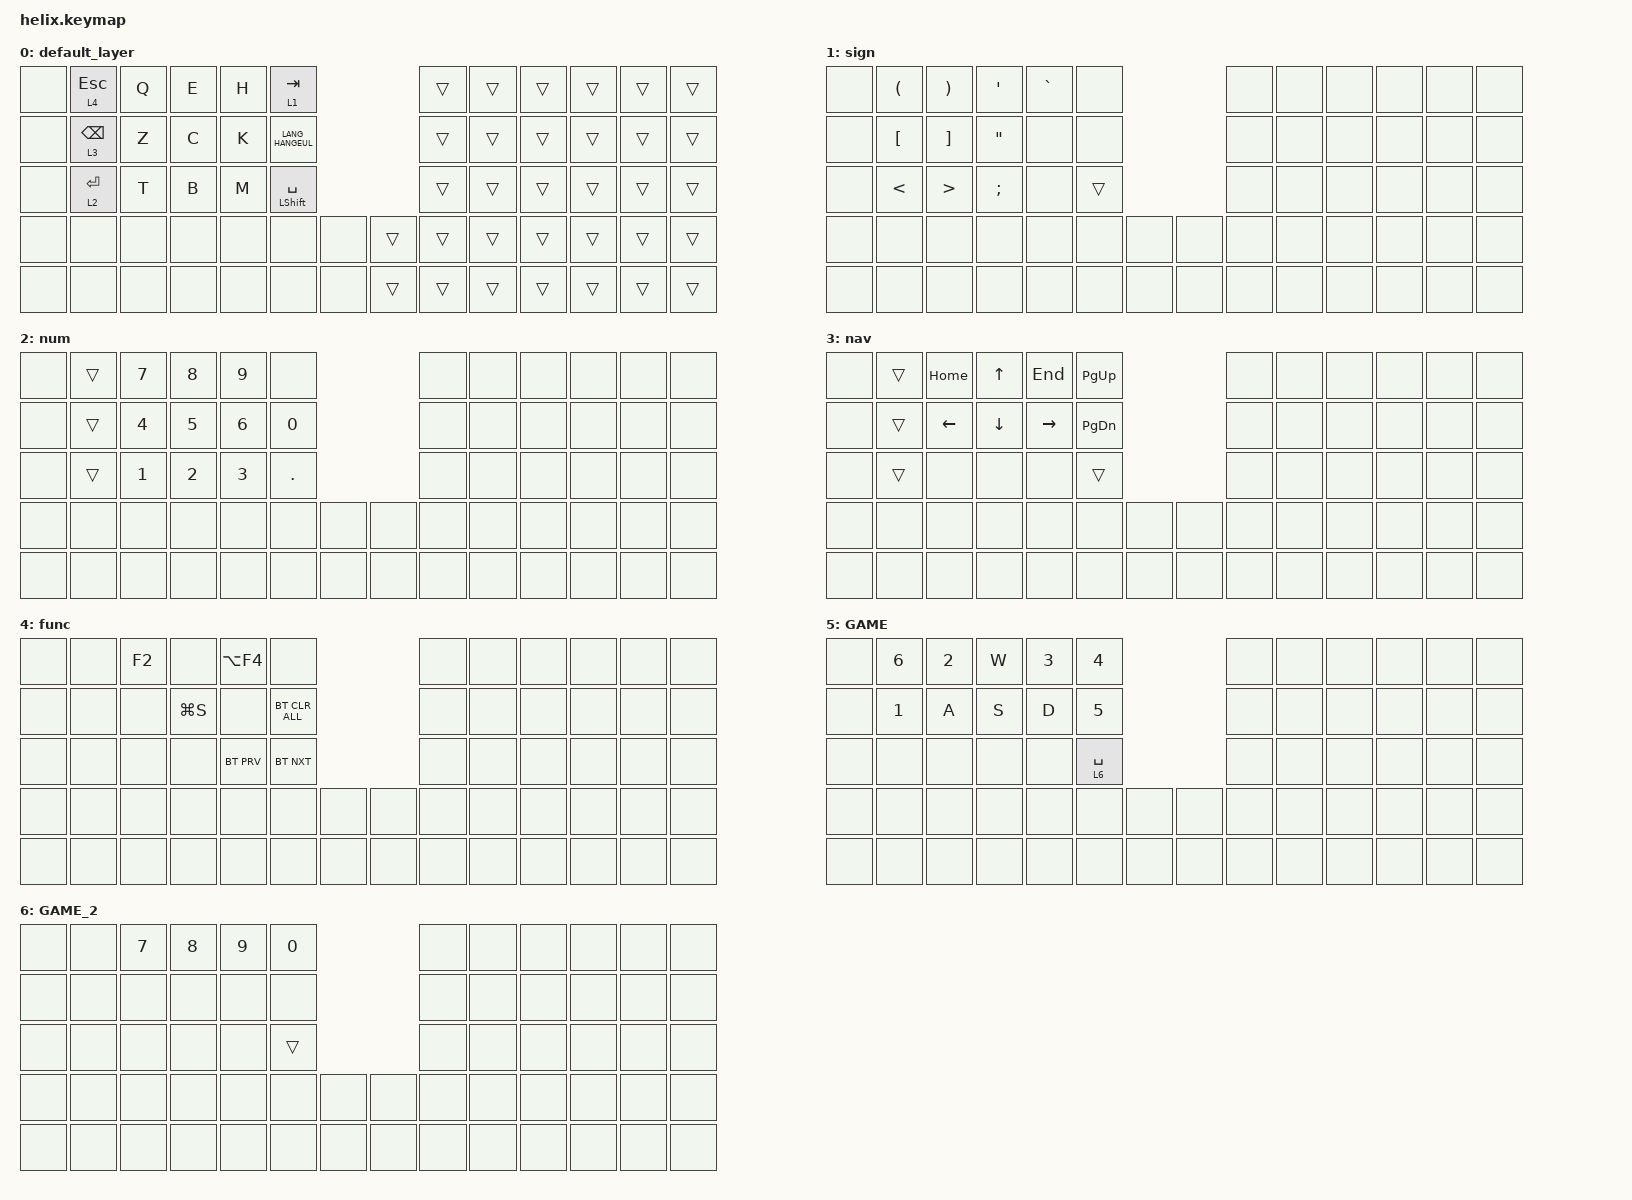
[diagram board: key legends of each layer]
/*
 * Copyright (c) 2020 The ZMK Contributors
 *
 * SPDX-License-Identifier: MIT
 */

#include <behaviors.dtsi>
#include <dt-bindings/zmk/bt.h>
#include <dt-bindings/zmk/keys.h>

#define DEFAULT 0
#define LOWER  1
#define RAISE  2
#define ADJUST 3

/* NOTE: At the time of the creation of this keymap, there are no specified codes for 'eisuu' and 'kana' input in ZMK.
However, 'LANG1' and 'LANG2' are fully-functioning candidates for 'kana' and 'eisuu' input respectively.
As such, those are in use within the default layer at this time.*/

/ {
    combos {
        compatible = "zmk,combos";

        gamemod {
            bindings = <&tog 5>;
            key-positions = <5 1>;
            layers = <0 5>;
        };

        QE_W {
            bindings = <&kp W>;
            key-positions = <2 3>;
            layers = <0>;
        };

        EH_Y {
            bindings = <&kp Y>;
            key-positions = <3 4>;
            layers = <0>;
        };

        ZE_A {
            bindings = <&kp A>;
            key-positions = <3 14>;
            layers = <0>;
        };

        ZH_S {
            bindings = <&kp S>;
            key-positions = <4 14>;
            layers = <0>;
        };

        QH_D {
            bindings = <&kp D>;
            key-positions = <4 2>;
            layers = <0>;
        };

        QK_U {
            bindings = <&kp U>;
            key-positions = <2 16>;
            layers = <0>;
        };

        EK_J {
            bindings = <&kp J>;
            key-positions = <3 16>;
            layers = <0>;
        };

        ZC_X {
            bindings = <&kp X>;
            key-positions = <14 15>;
            layers = <0>;
        };

        ZK_N {
            bindings = <&kp N>;
            key-positions = <14 16>;
            layers = <0>;
        };

        CK_I {
            bindings = <&kp I>;
            key-positions = <15 16>;
            layers = <0>;
        };

        TC_R {
            bindings = <&kp R>;
            key-positions = <15 26>;
            layers = <0>;
        };

        TK_F {
            bindings = <&kp F>;
            key-positions = <16 26>;
            layers = <0>;
        };

        TM_V {
            bindings = <&kp V>;
            key-positions = <26 28>;
            layers = <0>;
        };

        MZ_O {
            bindings = <&kp O>;
            key-positions = <14 28>;
            layers = <0>;
        };

        MC_L {
            bindings = <&kp L>;
            key-positions = <15 28>;
            layers = <0>;
        };

        TB_G {
            bindings = <&kp G>;
            key-positions = <26 27>;
            layers = <0>;
        };

        BM_P {
            bindings = <&kp P>;
            key-positions = <27 28>;
            layers = <0>;
        };

        QT_WIN {
            bindings = <&sk LEFT_WIN>;
            key-positions = <2 28>;
            layers = <0>;
        };

        EB_ALT {
            bindings = <&sk LEFT_ALT>;
            key-positions = <3 28>;
            layers = <0>;
        };

        HM_CTRL {
            bindings = <&sk LCTRL>;
            key-positions = <28 4>;
            layers = <0>;
        };

        CMB_CTRLZ {
            bindings = <&kp LC(Z)>;
            key-positions = <1 29>;
        };

        CMB_CTRLX {
            bindings = <&kp LC(X)>;
            key-positions = <2 29>;
            layers = <0>;
        };

        CMB_CTRLC {
            bindings = <&kp LC(C)>;
            key-positions = <29 3>;
            layers = <0>;
        };

        CMB_CTRLV {
            bindings = <&kp LC(V)>;
            key-positions = <4 29>;
            layers = <0>;
        };

        CMB_QZ {
            bindings = <&kp EXCLAMATION>;
            key-positions = <2 14>;
            layers = <0>;
        };

        CMB_EC {
            bindings = <&kp QUESTION>;
            key-positions = <3 15>;
            layers = <0>;
        };

        CMB_HK {
            bindings = <&kp MINUS>;
            key-positions = <4 16>;
            layers = <0>;
        };

        CMB_ZT {
            bindings = <&kp SLASH>;
            key-positions = <14 26>;
            layers = <0>;
        };

        CMB_CB {
            bindings = <&kp COMMA>;
            key-positions = <15 27>;
            layers = <0>;
        };

        CMB_KM {
            bindings = <&kp PERIOD>;
            key-positions = <16 28>;
        };

        NUM_CMB_PLUS {
            bindings = <&kp PLUS>;
            key-positions = <3 14>;
            layers = <2>;
        };

        NUM_CMB_MINUS {
            bindings = <&kp MINUS>;
            key-positions = <3 16>;
            layers = <2>;
        };

        NUM_CMB_MULT {
            bindings = <&kp KP_MULTIPLY>;
            key-positions = <4 14>;
            layers = <2>;
        };

        NUM_CMB_DIV {
            bindings = <&kp KP_DIVIDE>;
            key-positions = <2 16>;
        };

        NUM_CMB_EQUAL {
            bindings = <&kp EQUAL>;
            key-positions = <2 4>;
            layers = <2>;
        };
    };

    keymap {
        compatible = "zmk,keymap";

        default_layer {
            // ---------------------------------------------------------------------------------------------------------------------------------
            // | GRAVE  |   1    |   2    |   3    |   4    |   5    |                                      |   6    |   7    |   8    |   9    |   0    |  DEL   |
            // |  TAB   |   Q    |   W    |   E    |   R    |   T    |                                      |   Y    |   U    |   I    |   O    |   P    |  BSPC  |
            // |  CTRL  |   A    |   S    |   D    |   F    |   G    |                                      |   H    |   J    |   K    |   L    |   ;    |   '    |
            // |  SHIFT |   Z    |   X    |   C    |   V    |   B    |  LBKT  |                    |  RBKT  |   N    |   M    |   ,    |   .    |   /    |  RET   |
            // | ADJUST |  ESC   |  ALT   |  LGUI  | EISUU  | LOWER  | SPACE  |                    |  SPACE | RAISE  |  KANA  |  LEFT  |  DOWN  |  UP    |  RIGHT |

            bindings = <
&none  &lt 4 ESCAPE     &kp Q  &kp E  &kp H  &lt 1 TAB                              &trans  &trans  &trans  &trans  &trans  &trans
&none  &lt 3 BACKSPACE  &kp Z  &kp C  &kp K  &kp LANG_HANGEUL                       &trans  &trans  &trans  &trans  &trans  &trans
&none  &lt 2 ENTER      &kp T  &kp B  &kp M  &mt LEFT_SHIFT SPACE                   &trans  &trans  &trans  &trans  &trans  &trans
&none  &none            &none  &none  &none  &none                 &none    &trans  &trans  &trans  &trans  &trans  &trans  &trans
&none  &none            &none  &none  &none  &none                 &none    &trans  &trans  &trans  &trans  &trans  &trans  &trans
            >;
        };

        sign {
            // ---------------------------------------------------------------------------------------------------------------------------------
            // |      |      |      |      |      |      |                                  |      |      |      |      |      |      |
            // |  ~   |  !   |  @   |  #   |  $   |  %   |                                  |  ^   |  &   |  *   |  (   |  )   |      |
            // |      |      |      |      |      |      |                                  |      |  _   |  +   |  {   |  }   | PIPE |
            // |      |      |      |      |      |      |  (   |                    |  )   |      |      |      | HOME | END  |      |
            // |      |      |      |      |      |      |      |                    |      |      |      |      |      |      |      |

            bindings = <
&none  &kp LEFT_PARENTHESIS  &kp RIGHT_PARENTHESIS  &kp SQT            &kp GRAVE  &none                   &none  &none  &none  &none  &none  &none
&none  &kp LEFT_BRACKET      &kp RIGHT_BRACKET      &kp DOUBLE_QUOTES  &none      &none                   &none  &none  &none  &none  &none  &none
&none  &kp LESS_THAN         &kp GREATER_THAN       &kp SEMI           &none      &trans                  &none  &none  &none  &none  &none  &none
&none  &none                 &none                  &none              &none      &none   &none    &none  &none  &none  &none  &none  &none  &none
&none  &none                 &none                  &none              &none      &none   &none    &none  &none  &none  &none  &none  &none  &none
            >;
        };

        num {
            // ---------------------------------------------------------------------------------------------------------------------------------
            // |       |       |       |       |       |       |                                    |       |       |       |       |       |       |
            // |   `   |   1   |   2   |   3   |   4   |   5   |                                    |   6   |   7   |   8   |   9   |   0   |  DEL  |
            // |       |  F1   |  F2   |  F3   |  F4   |  F5   |                                    |  F6   |   -   |   =   |   [   |   ]   |   \   |
            // |       |  F7   |  F8   |  F9   |  F10  |  F11  |       |                    |       |  F12  |       | PSCRN | PG_DN | PG_UP |       |
            // |       |       |       |       |       |       |       |                    |       |       |       | NEXT  | VOL-  | VOL+  | PLAY  |

            bindings = <
&none  &trans  &kp NUMBER_7  &kp NUMBER_8  &kp NUMBER_9  &none                         &none  &none  &none  &none  &none  &none
&none  &trans  &kp NUMBER_4  &kp NUMBER_5  &kp NUMBER_6  &kp NUMBER_0                  &none  &none  &none  &none  &none  &none
&none  &trans  &kp NUMBER_1  &kp NUMBER_2  &kp NUMBER_3  &kp DOT                       &none  &none  &none  &none  &none  &none
&none  &none   &none         &none         &none         &none         &none    &none  &none  &none  &none  &none  &none  &none
&none  &none   &none         &none         &none         &none         &none    &none  &none  &none  &none  &none  &none  &none
            >;
        };

        nav {
            // ---------------------------------------------------------------------------------------------------------------------------------
            // |    `     |    !     |    @     |    #     |    $     |    %     |                                          |    ^     |    &     |    *     |    (     |    )     |  EP TOG  |
            // |  BT CLR  | BT SEL0  | BT SEL1  | BT SEL2  | BGT SEL3 | BT SEL4  |                                          | RGB EFF+ | RGB HUE+ | RGB SAT+ | RGB SPD+ | RGB BRI+ | RGB TOG  |
            // |  BT NXT  | OUT TOG  | OUT USB  | OUT BLE  |          |          |                                          | RGB EFF- | RGB HUE- | RGB SAT- | RGB SPD- | RGB BRI- |          |
            // |  BT PRV  |          |          |          |          |          |    {     |                    |    }     |          |          |          |          |          |          |
            // |          |          |          |          |          |          |          |                    |          |          |          |          |          |          |          |

            bindings = <
&none  &trans  &kp HOME  &kp UP_ARROW  &kp END    &kp PAGE_UP                    &none  &none  &none  &none  &none  &none
&none  &trans  &kp LEFT  &kp DOWN      &kp RIGHT  &kp PAGE_DOWN                  &none  &none  &none  &none  &none  &none
&none  &trans  &none     &none         &none      &trans                         &none  &none  &none  &none  &none  &none
&none  &none   &none     &none         &none      &none          &none    &none  &none  &none  &none  &none  &none  &none
&none  &none   &none     &none         &none      &none          &none    &none  &none  &none  &none  &none  &none  &none
            >;
        };

        func {
            bindings = <
&none  &none  &kp F2  &none      &kp LA(F4)  &none                           &none  &none  &none  &none  &none  &none
&none  &none  &none   &kp LG(S)  &none       &bt BT_CLR_ALL                  &none  &none  &none  &none  &none  &none
&none  &none  &none   &none      &bt BT_PRV  &bt BT_NXT                      &none  &none  &none  &none  &none  &none
&none  &none  &none   &none      &none       &none           &none    &none  &none  &none  &none  &none  &none  &none
&none  &none  &none   &none      &none       &none           &none    &none  &none  &none  &none  &none  &none  &none
            >;
        };

        GAME {
            bindings = <
&none  &kp NUMBER_6  &kp NUMBER_2  &kp W  &kp NUMBER_3  &kp NUMBER_4                  &none  &none  &none  &none  &none  &none
&none  &kp NUMBER_1  &kp A         &kp S  &kp D         &kp NUMBER_5                  &none  &none  &none  &none  &none  &none
&none  &none         &none         &none  &none         &lt 6 SPACE                   &none  &none  &none  &none  &none  &none
&none  &none         &none         &none  &none         &none         &none    &none  &none  &none  &none  &none  &none  &none
&none  &none         &none         &none  &none         &none         &none    &none  &none  &none  &none  &none  &none  &none
            >;
        };

        GAME_2 {
            bindings = <
&none  &none  &kp NUMBER_7  &kp NUMBER_8  &kp NUMBER_9  &kp NUMBER_0                  &none  &none  &none  &none  &none  &none
&none  &none  &none         &none         &none         &none                         &none  &none  &none  &none  &none  &none
&none  &none  &none         &none         &none         &trans                        &none  &none  &none  &none  &none  &none
&none  &none  &none         &none         &none         &none         &none    &none  &none  &none  &none  &none  &none  &none
&none  &none  &none         &none         &none         &none         &none    &none  &none  &none  &none  &none  &none  &none
            >;
        };
    };
};
